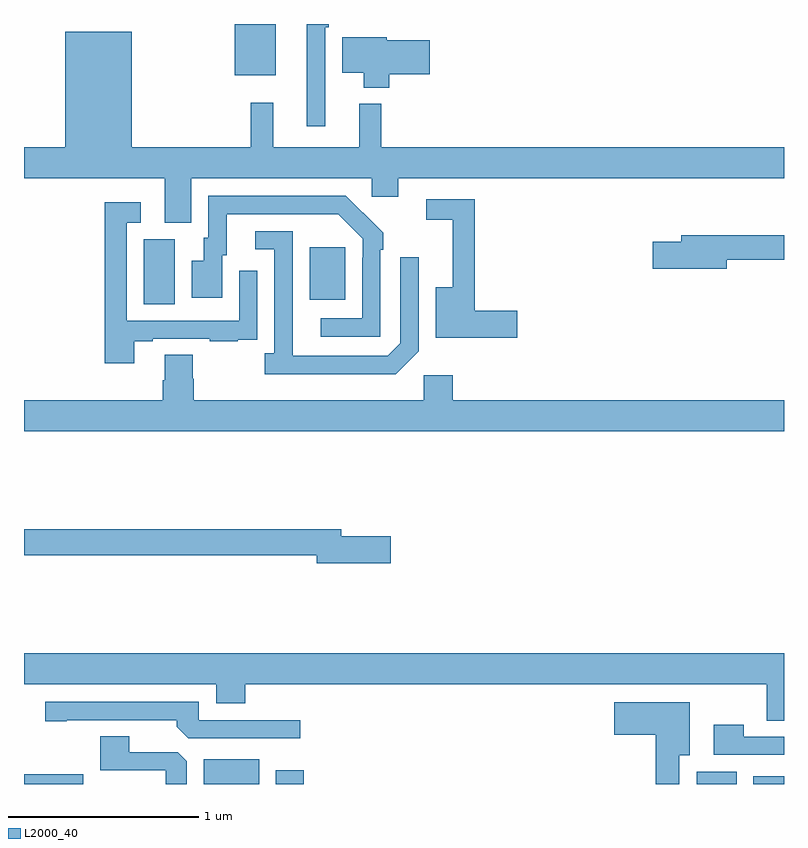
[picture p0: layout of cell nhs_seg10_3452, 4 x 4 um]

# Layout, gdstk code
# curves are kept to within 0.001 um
import gdstk
lib = gdstk.Library(unit=1e-6, precision=1e-09)
def R(c, l, rs):  # rectangles x0, y0, x1, y1
    for r in rs: c.add(gdstk.rectangle(r[:2], r[2:], *l))
def P(c, l, *ps):  # polygons
    for p in ps: c.add(gdstk.Polygon(p, *l))
L2000_40 = (2000, 40)

nhs_seg10_3452 = lib.new_cell('nhs_seg10_3452')
R(nhs_seg10_3452, L2000_40, [(299,1258.5,299.311,1258.552), (299.945,1258.5,300.238,1258.63), (300.326,1258.5,300.473,1258.573), (302.54,1258.5,302.752,1258.564), (302.837,1258.5,303,1258.54), (299.63,1261.024,299.794,1261.368), (300.503,1261.049,300.691,1261.324), (300.11,1262.231,300.325,1262.5)])
P(nhs_seg10_3452, L2000_40, [(300.585,1262.483),(300.605,1262.483),(300.605,1262.5),(300.488,1262.5),(300.488,1261.962),(300.585,1261.962)],
  [(299.881,1261.688),(300.831,1261.688),(300.831,1261.59),(300.97,1261.59),(300.97,1261.688),(303,1261.688),(303,1261.852),(300.881,1261.852),(300.881,1262.08),(300.764,1262.08),(300.764,1261.852),(300.311,1261.852),(300.311,1262.086),(300.193,1262.086),(300.193,1261.852),(299.566,1261.852),(299.566,1262.458),(299.216,1262.458),(299.216,1261.852),(299,1261.852),(299,1261.688),(299.741,1261.688),(299.741,1261.453),(299.881,1261.453)],
  [(300.923,1262.236),(301.135,1262.236),(301.135,1262.414),(300.91,1262.414),(300.91,1262.431),(300.674,1262.431),(300.674,1262.243),(300.788,1262.243),(300.788,1262.165),(300.923,1262.165)],
  [(300.876,1261.313),(300.891,1261.313),(300.891,1261.401),(300.694,1261.596),(299.97,1261.596),(299.97,1261.374),(299.945,1261.374),(299.945,1261.255),(299.882,1261.255),(299.882,1261.059),(300.043,1261.059),(300.043,1261.284),(300.067,1261.284),(300.067,1261.5),(300.655,1261.5),(300.783,1261.371),(300.783,1261.271),(300.78,1261.271),(300.78,1260.951),(300.561,1260.951),(300.561,1260.855),(300.876,1260.855)],
  [(301.597,1260.992),(301.373,1260.992),(301.373,1261.578),(301.116,1261.578),(301.116,1261.47),(301.256,1261.47),(301.256,1261.114),(301.166,1261.114),(301.166,1260.85),(301.597,1260.85)],
  [(299.581,1260.831),(299.677,1260.831),(299.677,1260.843),(299.977,1260.843),(299.977,1260.831),(300.125,1260.831),(300.125,1260.837),(300.227,1260.837),(300.227,1260.946),(300.228,1260.946),(300.228,1261.201),(300.132,1261.201),(300.132,1260.939),(299.541,1260.939),(299.541,1261.455),(299.614,1261.455),(299.614,1261.561),(299.425,1261.561),(299.425,1260.714),(299.581,1260.714)],
  [(301.077,1260.777),(301.077,1261.273),(300.981,1261.273),(300.981,1260.819),(300.915,1260.753),(300.415,1260.753),(300.414,1261.41),(300.216,1261.41),(300.216,1261.314),(300.318,1261.314),(300.318,1260.766),(300.267,1260.766),(300.267,1260.656),(300.956,1260.656)],
  [(302.698,1261.258),(303,1261.258),(303,1261.387),(302.459,1261.387),(302.459,1261.353),(302.31,1261.353),(302.31,1261.211),(302.698,1261.211)],
  [(303,1260.52),(301.256,1260.52),(301.256,1260.652),(301.104,1260.652),(301.104,1260.52),(299.894,1260.52),(299.894,1260.633),(299.889,1260.633),(299.889,1260.758),(299.741,1260.758),(299.741,1260.626),(299.729,1260.626),(299.729,1260.52),(299,1260.52),(299,1260.356),(303,1260.356)],
  [(300.931,1259.804),(300.67,1259.804),(300.67,1259.84),(299,1259.84),(299,1259.704),(300.542,1259.704),(300.542,1259.662),(300.931,1259.662)],
  [(303,1259.188),(299,1259.188),(299,1259.024),(300.011,1259.024),(300.011,1258.925),(300.164,1258.925),(300.164,1259.024),(302.908,1259.024),(302.908,1258.834),(303,1258.834)],
  [(300.454,1258.836),(299.919,1258.836),(299.919,1258.932),(299.112,1258.932),(299.112,1258.831),(299.224,1258.831),(299.224,1258.836),(299.804,1258.836),(299.804,1258.802),(299.865,1258.74),(300.454,1258.74)],
  [(302.449,1258.652),(302.503,1258.652),(302.503,1258.93),(302.106,1258.93),(302.106,1258.76),(302.324,1258.76),(302.324,1258.5),(302.449,1258.5)],
  [(303,1258.749),(302.787,1258.749),(302.787,1258.813),(302.631,1258.813),(302.631,1258.653),(303,1258.653)],
  [(299.857,1258.619),(299.808,1258.668),(299.554,1258.668),(299.554,1258.751),(299.402,1258.751),(299.402,1258.572),(299.745,1258.572),(299.745,1258.5),(299.857,1258.5)])

lib.write_gds('nhs_seg10_3452.gds')
